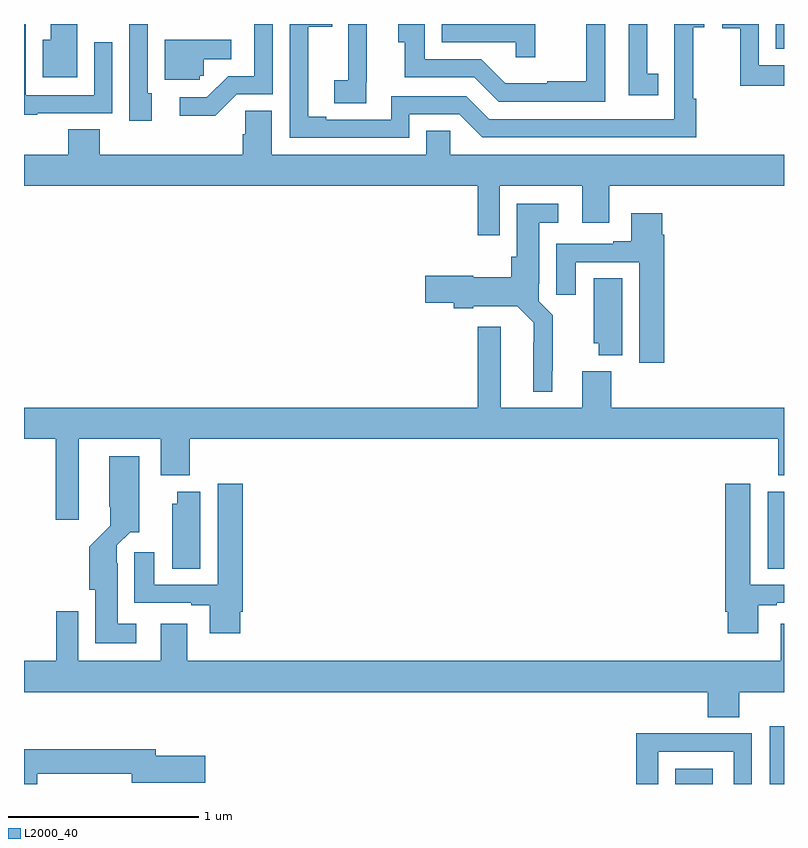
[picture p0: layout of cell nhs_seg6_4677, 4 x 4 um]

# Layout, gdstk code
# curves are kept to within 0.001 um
import gdstk
lib = gdstk.Library(unit=1e-6, precision=1e-09)
def R(c, l, rs):  # rectangles x0, y0, x1, y1
    for r in rs: c.add(gdstk.rectangle(r[:2], r[2:], *l))
def P(c, l, *ps):  # polygons
    for p in ps: c.add(gdstk.Polygon(p, *l))
L2000_40 = (2000, 40)

nhs_seg6_4677 = lib.new_cell('nhs_seg6_4677')
R(nhs_seg6_4677, L2000_40, [(390.428,965.5,390.625,965.581), (390.924,965.5,391,965.803), (390.914,966.634,391,967.039), (390.956,969.371,391,969.5)])
P(nhs_seg6_4677, L2000_40, [(390.338,969.239),(390.28,969.239),(390.28,969.5),(390.183,969.5),(390.183,969.126),(390.338,969.126)],
  [(387.28,969.5),(387.14,969.5),(387.14,969.418),(387.098,969.418),(387.098,969.221),(387.28,969.221)],
  [(387.069,969.03),(387.465,969.03),(387.465,969.403),(387.369,969.403),(387.369,969.126),(387.009,969.126),(387.009,969.5),(387,969.5),(387,969.023),(387.069,969.023)],
  [(389.69,969.5),(389.199,969.5),(389.199,969.405),(389.589,969.405),(389.589,969.324),(389.69,969.324)],
  [(388.802,969.193),(388.804,969.193),(388.804,969.5),(388.707,969.5),(388.707,969.401),(388.706,969.401),(388.706,969.204),(388.632,969.204),(388.632,969.082),(388.802,969.082)],
  [(389.028,969.024),(389.292,969.024),(389.412,968.904),(390.539,968.904),(390.539,969.107),(390.522,969.107),(390.522,969.483),(390.58,969.483),(390.58,969.5),(390.422,969.5),(390.423,969),(389.448,969),(389.328,969.12),(388.932,969.12),(388.932,968.997),(388.591,968.997),(388.591,969.012),(388.495,969.012),(388.495,969.486),(388.622,969.486),(388.622,969.5),(388.398,969.5),(388.398,968.901),(389.028,968.901)],
  [(387.673,969.135),(387.651,969.135),(387.651,969.5),(387.554,969.5),(387.554,969.49),(387.555,969.49),(387.555,968.991),(387.673,968.991)],
  [(391,969.282),(390.867,969.282),(390.867,969.5),(390.675,969.5),(390.675,969.478),(390.769,969.478),(390.769,969.174),(391,969.174)],
  [(390.06,969.5),(389.959,969.5),(389.959,969.199),(389.753,969.199),(389.753,969.187),(389.534,969.187),(389.406,969.315),(389.11,969.315),(389.11,969.5),(388.97,969.5),(388.97,969.403),(389.003,969.403),(389.003,969.219),(389.37,969.219),(389.499,969.09),(390.06,969.09)],
  [(388.119,969.129),(388.308,969.129),(388.308,969.5),(388.212,969.5),(388.212,969.225),(388.074,969.225),(387.963,969.114),(387.819,969.114),(387.819,969.017),(388.006,969.017)],
  [(387.924,969.228),(387.945,969.228),(387.945,969.314),(388.09,969.314),(388.09,969.418),(387.74,969.418),(387.74,969.207),(387.924,969.207)],
  [(389.505,968.648),(389.939,968.648),(389.939,968.454),(390.079,968.454),(390.079,968.648),(391,968.648),(391,968.812),(389.244,968.812),(389.244,968.939),(389.117,968.939),(389.117,968.812),(388.303,968.812),(388.303,969.044),(388.164,969.044),(388.164,968.921),(388.151,968.921),(388.151,968.812),(387.398,968.812),(387.398,968.945),(387.233,968.945),(387.233,968.812),(387,968.812),(387,968.648),(389.389,968.648),(389.389,968.388),(389.505,968.388)],
  [(389.779,967.675),(389.783,967.675),(389.783,967.966),(389.709,968.04),(389.709,968.134),(389.713,968.134),(389.713,968.453),(389.812,968.453),(389.812,968.554),(389.594,968.554),(389.594,968.274),(389.564,968.274),(389.564,968.167),(389.365,968.167),(389.365,968.175),(389.112,968.175),(389.112,968.033),(389.261,968.033),(389.261,968.003),(389.365,968.003),(389.365,968.015),(389.595,968.015),(389.682,967.928),(389.681,967.565),(389.779,967.565)],
  [(390.371,968.39),(390.358,968.39),(390.358,968.503),(390.197,968.503),(390.197,968.356),(390.101,968.356),(390.101,968.343),(389.801,968.343),(389.801,968.076),(389.905,968.076),(389.905,968.247),(390.239,968.247),(390.239,967.716),(390.371,967.716)],
  [(390.148,968.162),(389.999,968.162),(389.999,967.821),(390.026,967.821),(390.026,967.757),(390.148,967.757)],
  [(387.289,967.316),(387.719,967.316),(387.719,967.124),(387.872,967.124),(387.872,967.316),(390.971,967.316),(390.971,967.124),(391,967.124),(391,967.48),(390.092,967.48),(390.092,967.672),(389.939,967.672),(389.939,967.48),(389.509,967.48),(389.509,967.906),(389.387,967.906),(389.387,967.48),(387,967.48),(387,967.316),(387.167,967.316),(387.167,966.891),(387.289,966.891)],
  [(387.592,966.343),(387.493,966.343),(387.493,966.662),(387.489,966.662),(387.489,966.756),(387.559,966.826),(387.607,966.826),(387.607,967.225),(387.449,967.225),(387.449,966.958),(387.453,966.958),(387.453,966.859),(387.344,966.75),(387.344,966.522),(387.374,966.522),(387.374,966.242),(387.592,966.242)],
  [(390.865,966.441),(390.961,966.441),(390.961,966.453),(391,966.453),(391,966.549),(390.823,966.549),(390.823,967.081),(390.692,967.081),(390.692,966.406),(390.704,966.406),(390.704,966.294),(390.865,966.294)],
  [(388.138,966.406),(388.151,966.406),(388.151,967.081),(388.019,967.081),(388.019,966.549),(387.685,966.549),(387.685,966.721),(387.581,966.721),(387.581,966.453),(387.881,966.453),(387.881,966.441),(387.977,966.441),(387.977,966.294),(388.138,966.294)],
  [(387.928,967.039),(387.806,967.039),(387.806,966.975),(387.779,966.975),(387.779,966.634),(387.928,966.634)],
  [(390.764,965.984),(391,965.984),(391,966.343),(390.983,966.343),(390.983,966.148),(387.859,966.148),(387.859,966.343),(387.719,966.343),(387.719,966.148),(387.285,966.148),(387.285,966.409),(387.169,966.409),(387.169,966.148),(387,966.148),(387,965.984),(390.599,965.984),(390.599,965.851),(390.764,965.851)],
  [(390.339,965.67),(390.735,965.67),(390.735,965.5),(390.831,965.5),(390.831,965.766),(390.515,965.766),(390.515,965.768),(390.223,965.768),(390.223,965.5),(390.339,965.5)],
  [(387.071,965.554),(387.566,965.554),(387.566,965.507),(387.955,965.507),(387.955,965.649),(387.694,965.649),(387.694,965.683),(387,965.683),(387,965.5),(387.071,965.5)])

lib.write_gds('nhs_seg6_4677.gds')
